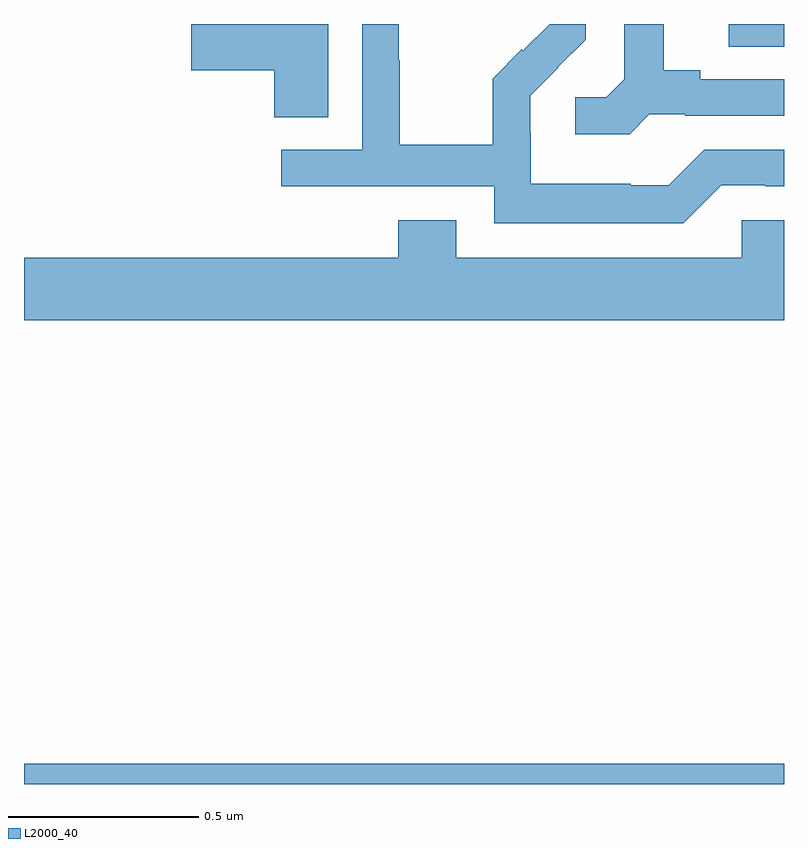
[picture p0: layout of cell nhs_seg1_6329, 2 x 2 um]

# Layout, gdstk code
import gdstk
lib = gdstk.Library(unit=1e-6, precision=1e-09)
def R(c, l, rs):  # rectangles x0, y0, x1, y1
    for r in rs: c.add(gdstk.rectangle(r[:2], r[2:], *l))
def P(c, l, *ps):  # polygons
    for p in ps: c.add(gdstk.Polygon(p, *l))
L2000_40 = (2000, 40)

nhs_seg1_6329 = lib.new_cell('nhs_seg1_6329')
R(nhs_seg1_6329, L2000_40, [(190,529.199,192,529.252), (191.855,531.139,192,531.199)])
P(nhs_seg1_6329, L2000_40, [(191.646,530.961),(191.74,530.961),(191.74,530.958),(192,530.958),(192,531.054),(191.779,531.054),(191.779,531.077),(191.683,531.077),(191.683,531.199),(191.579,531.199),(191.579,531.053),(191.532,531.006),(191.451,531.006),(191.451,530.909),(191.594,530.909)],
  [(191.835,530.775),(191.951,530.775),(191.951,530.772),(192,530.772),(192,530.868),(191.79,530.868),(191.697,530.775),(191.597,530.775),(191.597,530.779),(191.334,530.779),(191.334,530.913),(191.332,530.913),(191.332,531.01),(191.406,531.084),(191.405,531.085),(191.478,531.158),(191.478,531.199),(191.383,531.199),(191.313,531.129),(191.31,531.132),(191.233,531.055),(191.233,530.881),(190.989,530.881),(190.989,531.104),(190.986,531.104),(190.986,531.199),(190.89,531.199),(190.89,530.868),(190.677,530.868),(190.677,530.772),(191.238,530.772),(191.238,530.675),(191.735,530.675)],
  [(190.801,531.199),(190.44,531.199),(190.44,531.077),(190.658,531.077),(190.658,530.953),(190.801,530.953)],
  [(192,530.682),(191.889,530.682),(191.889,530.584),(191.137,530.584),(191.137,530.683),(190.985,530.683),(190.985,530.584),(190,530.584),(190,530.42),(192,530.42)])

lib.write_gds('nhs_seg1_6329.gds')
